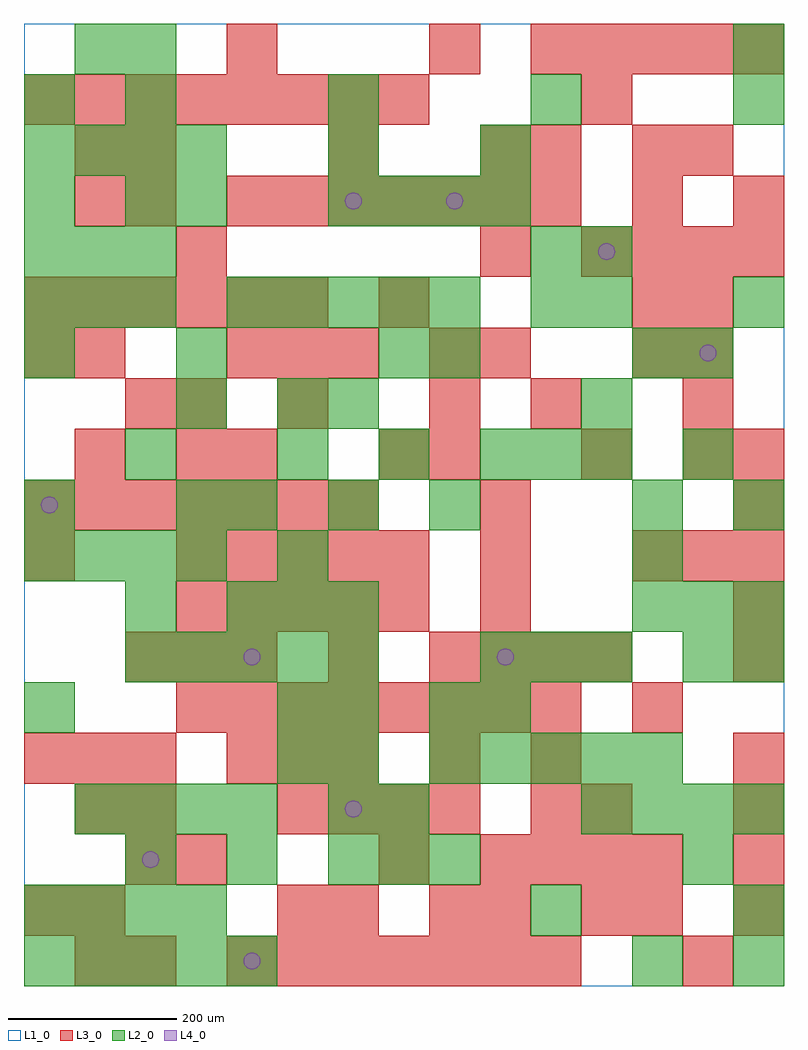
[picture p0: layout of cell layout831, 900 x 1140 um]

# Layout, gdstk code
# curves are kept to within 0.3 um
import gdstk
lib = gdstk.Library(unit=1e-6, precision=1e-09)
def R(c, l, rs):  # rectangles x0, y0, x1, y1
    for r in rs: c.add(gdstk.rectangle(r[:2], r[2:], *l))
def A(c, l, x, y, w, h, nx, ny, dx, dy):  # array of equal rectangles
    R(c, l, [(x+i*dx, y+j*dy, x+i*dx+w, y+j*dy+h) for i in range(nx) for j in range(ny)])
def P(c, l, *ps):  # polygons
    for p in ps: c.add(gdstk.Polygon(p, *l))
L1_0 = (1, 0)
L2_0 = (2, 0)
L3_0 = (3, 0)
L4_0 = (4, 0)

layout831 = lib.new_cell('layout831')
R(layout831, L1_0, [(0,0,900,1140)])
A(layout831, L2_0, 0, 0, 60, 60, 5, 1, 60, 0)
A(layout831, L2_0, 0, 60, 60, 60, 4, 2, 60, 420)
A(layout831, L2_0, 120, 120, 60, 60, 3, 1, 120, 0)
A(layout831, L2_0, 780, 120, 60, 60, 1, 3, 0, 240)
A(layout831, L2_0, 60, 180, 60, 60, 4, 1, 60, 0)
A(layout831, L2_0, 360, 180, 60, 60, 1, 3, 0, 60)
A(layout831, L2_0, 660, 180, 60, 60, 4, 1, 60, 0)
A(layout831, L2_0, 480, 240, 60, 60, 5, 1, 60, 0)
A(layout831, L2_0, 300, 300, 60, 60, 1, 3, 0, 180)
A(layout831, L2_0, 120, 360, 60, 60, 5, 1, 60, 0)
A(layout831, L2_0, 540, 360, 60, 60, 3, 1, 60, 0)
A(layout831, L2_0, 240, 420, 60, 60, 3, 1, 60, 0)
A(layout831, L2_0, 720, 420, 60, 60, 3, 1, 60, 0)
A(layout831, L2_0, 0, 540, 60, 60, 1, 3, 0, 180)
A(layout831, L2_0, 240, 540, 60, 60, 3, 1, 120, 0)
A(layout831, L2_0, 300, 600, 60, 60, 3, 1, 120, 0)
A(layout831, L2_0, 0, 780, 60, 60, 3, 2, 60, 60)
A(layout831, L2_0, 240, 780, 60, 60, 5, 1, 60, 0)
A(layout831, L2_0, 360, 900, 60, 60, 4, 1, 60, 0)
A(layout831, L2_0, 0, 960, 60, 60, 4, 1, 60, 0)
A(layout831, L2_0, 120, 1020, 60, 60, 4, 1, 240, 0)
R(layout831, L2_0, [(720,0,780,60), (840,0,900,60), (600,60,660,120), (840,60,900,120), (420,120,480,180), (480,120,540,180), (420,180,480,240), (300,240,360,300), (0,300,60,360), (480,300,540,360), (540,300,600,360), (840,360,900,420), (120,420,180,480), (720,480,780,540), (180,540,240,600), (720,540,780,600), (840,540,900,600), (120,600,180,660), (600,600,660,660), (660,600,720,660), (180,660,240,720), (360,660,420,720), (660,660,720,720), (180,720,240,780), (420,720,480,780), (480,720,540,780), (720,720,780,780), (780,720,840,780), (600,780,660,840), (660,780,720,840), (840,780,900,840), (600,840,660,900), (660,840,720,900), (120,900,180,960), (180,900,240,960), (360,960,420,1020), (540,960,600,1020), (0,1020,60,1080), (60,1080,120,1140), (120,1080,180,1140), (840,1080,900,1140)])
A(layout831, L3_0, 240, 0, 60, 60, 7, 2, 60, 900)
A(layout831, L3_0, 840, 60, 60, 60, 1, 4, 0, 60)
A(layout831, L3_0, 540, 120, 60, 60, 4, 1, 60, 0)
A(layout831, L3_0, 300, 180, 60, 60, 4, 1, 60, 0)
A(layout831, L3_0, 660, 180, 60, 60, 1, 3, 0, 420)
A(layout831, L3_0, 0, 240, 60, 60, 3, 1, 60, 0)
A(layout831, L3_0, 240, 240, 60, 60, 3, 2, 60, 480)
A(layout831, L3_0, 180, 300, 60, 60, 8, 1, 60, 0)
A(layout831, L3_0, 120, 360, 60, 60, 3, 1, 60, 0)
A(layout831, L3_0, 480, 360, 60, 60, 4, 1, 60, 0)
A(layout831, L3_0, 180, 420, 60, 60, 5, 2, 60, 60)
A(layout831, L3_0, 540, 420, 60, 60, 1, 3, 0, 60)
A(layout831, L3_0, 720, 480, 60, 60, 3, 1, 60, 0)
A(layout831, L3_0, 0, 540, 60, 60, 7, 1, 60, 0)
A(layout831, L3_0, 480, 600, 60, 60, 1, 3, 0, 60)
A(layout831, L3_0, 780, 600, 60, 60, 1, 4, 0, 60)
A(layout831, L3_0, 540, 720, 60, 60, 1, 3, 0, 120)
A(layout831, L3_0, 0, 780, 60, 60, 6, 1, 60, 0)
A(layout831, L3_0, 660, 840, 60, 60, 4, 1, 60, 0)
A(layout831, L3_0, 0, 1020, 60, 60, 8, 1, 60, 0)
A(layout831, L3_0, 600, 1080, 60, 60, 5, 1, 60, 0)
R(layout831, L3_0, [(60,0,120,60), (120,0,180,60), (780,0,840,60), (0,60,60,120), (60,60,120,120), (300,60,360,120), (360,60,420,120), (480,60,540,120), (540,60,600,120), (660,60,720,120), (720,60,780,120), (120,120,180,180), (180,120,240,180), (420,120,480,180), (60,180,120,240), (120,180,180,240), (600,180,660,240), (480,240,540,300), (600,240,660,300), (720,300,780,360), (360,360,420,420), (840,360,900,420), (840,420,900,480), (0,480,60,540), (840,540,900,600), (60,600,120,660), (180,600,240,660), (240,600,300,660), (420,600,480,660), (840,600,900,660), (120,660,180,720), (180,660,240,720), (300,660,360,720), (600,660,660,720), (0,720,60,780), (60,720,120,780), (720,720,780,780), (420,780,480,840), (720,780,780,840), (180,840,240,900), (60,900,120,960), (120,900,180,960), (720,900,780,960), (840,900,900,960), (60,960,120,1020), (120,960,180,1020), (360,960,420,1020), (600,960,660,1020), (720,960,780,1020), (780,960,840,1020), (240,1080,300,1140), (480,1080,540,1140)])
P(layout831, L4_0, [(40,570),(39.239,573.827),(37.071,577.071),(33.827,579.239),(30,580),(26.173,579.239),(22.929,577.071),(20.761,573.827),(20,570),(20.761,566.173),(22.929,562.929),(26.173,560.761),(30,560),(33.827,560.761),(37.071,562.929),(39.239,566.173)],
  [(160,150),(159.239,153.827),(157.071,157.071),(153.827,159.239),(150,160),(146.173,159.239),(142.929,157.071),(140.761,153.827),(140,150),(140.761,146.173),(142.929,142.929),(146.173,140.761),(150,140),(153.827,140.761),(157.071,142.929),(159.239,146.173)],
  [(280,30),(279.239,33.827),(277.071,37.071),(273.827,39.239),(270,40),(266.173,39.239),(262.929,37.071),(260.761,33.827),(260,30),(260.761,26.173),(262.929,22.929),(266.173,20.761),(270,20),(273.827,20.761),(277.071,22.929),(279.239,26.173)],
  [(280,390),(279.239,393.827),(277.071,397.071),(273.827,399.239),(270,400),(266.173,399.239),(262.929,397.071),(260.761,393.827),(260,390),(260.761,386.173),(262.929,382.929),(266.173,380.761),(270,380),(273.827,380.761),(277.071,382.929),(279.239,386.173)],
  [(400,210),(399.239,213.827),(397.071,217.071),(393.827,219.239),(390,220),(386.173,219.239),(382.929,217.071),(380.761,213.827),(380,210),(380.761,206.173),(382.929,202.929),(386.173,200.761),(390,200),(393.827,200.761),(397.071,202.929),(399.239,206.173)],
  [(400,930),(399.239,933.827),(397.071,937.071),(393.827,939.239),(390,940),(386.173,939.239),(382.929,937.071),(380.761,933.827),(380,930),(380.761,926.173),(382.929,922.929),(386.173,920.761),(390,920),(393.827,920.761),(397.071,922.929),(399.239,926.173)],
  [(520,930),(519.239,933.827),(517.071,937.071),(513.827,939.239),(510,940),(506.173,939.239),(502.929,937.071),(500.761,933.827),(500,930),(500.761,926.173),(502.929,922.929),(506.173,920.761),(510,920),(513.827,920.761),(517.071,922.929),(519.239,926.173)],
  [(580,390),(579.239,393.827),(577.071,397.071),(573.827,399.239),(570,400),(566.173,399.239),(562.929,397.071),(560.761,393.827),(560,390),(560.761,386.173),(562.929,382.929),(566.173,380.761),(570,380),(573.827,380.761),(577.071,382.929),(579.239,386.173)],
  [(700,870),(699.239,873.827),(697.071,877.071),(693.827,879.239),(690,880),(686.173,879.239),(682.929,877.071),(680.761,873.827),(680,870),(680.761,866.173),(682.929,862.929),(686.173,860.761),(690,860),(693.827,860.761),(697.071,862.929),(699.239,866.173)],
  [(820,750),(819.239,753.827),(817.071,757.071),(813.827,759.239),(810,760),(806.173,759.239),(802.929,757.071),(800.761,753.827),(800,750),(800.761,746.173),(802.929,742.929),(806.173,740.761),(810,740),(813.827,740.761),(817.071,742.929),(819.239,746.173)])

lib.write_gds('layout831.gds')
